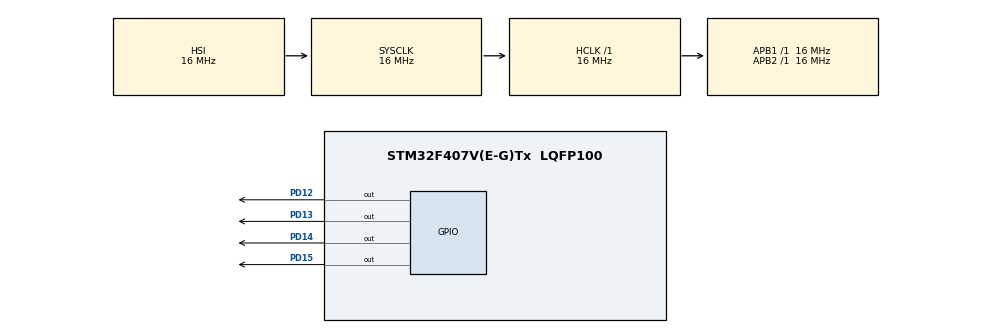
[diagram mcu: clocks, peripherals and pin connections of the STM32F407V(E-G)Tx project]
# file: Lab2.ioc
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Mcu.Family=STM32F4
Mcu.Name=STM32F407V(E-G)Tx
Mcu.Package=LQFP100
NVIC.PriorityGroup=NVIC_PRIORITYGROUP_4
PD12.Signal=GPIO_Output
PD13.Signal=GPIO_Output
PD14.Signal=GPIO_Output
PD15.Signal=GPIO_Output
ProjectManager.HeapSize=0x200
ProjectManager.StackSize=0x400
ProjectManager.TargetToolchain=STM32CubeIDE
RCC.AHBFreq_Value=16000000
RCC.APB1Freq_Value=16000000
RCC.APB2Freq_Value=16000000
RCC.CortexFreq_Value=16000000
RCC.HSE_VALUE=25000000
RCC.HSI_VALUE=16000000
RCC.LSE_VALUE=32768
RCC.SYSCLKFreq_VALUE=16000000
RCC.VCOOutputFreq_Value=192000000
board=custom

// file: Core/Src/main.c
/* USER CODE BEGIN Header */
/**
  ******************************************************************************
  * @file           : main.c
  * @brief          : Main program body
  ******************************************************************************
  * @attention
  *
  * Copyright (c) 2026 STMicroelectronics.
  * All rights reserved.
  *
  * This software is licensed under terms that can be found in the LICENSE file
  * in the root directory of this software component.
  * If no LICENSE file comes with this software, it is provided AS-IS.
  *
  ******************************************************************************
  */
/* USER CODE END Header */
#include "main.h"

/* USER CODE BEGIN Includes */
#include <stdlib.h>
/* USER CODE END Includes */

/* USER CODE BEGIN PD */
#define NUMBER_OF_PINS 4
/* USER CODE END PD */

void SystemClock_Config(void);
static void MX_GPIO_Init(void);

int main(void)
{

  /* MCU Configuration--------------------------------------------------------*/

  /* Reset of all peripherals, Initializes the Flash interface and the Systick. */
  HAL_Init();

  /* Configure the system clock */
  SystemClock_Config();

  /* Initialize all configured peripherals */
  MX_GPIO_Init();
  /* USER CODE BEGIN 2 */
  const uint16_t GPIO_PINS[] = {GPIO_PIN_12, GPIO_PIN_13, GPIO_PIN_14, GPIO_PIN_15};
  void rightOrderLight() {
      for (int i = 0; i < NUMBER_OF_PINS; i++) {
        HAL_GPIO_WritePin(GPIOD, GPIO_PINS[i], GPIO_PIN_SET);
        HAL_Delay(375);

        HAL_GPIO_WritePin(GPIOD, GPIO_PINS[i], GPIO_PIN_RESET);
        HAL_Delay(375);
      }
    }

  void reverseOrderLight() {
    for (int i = NUMBER_OF_PINS; i > 0; i--) {
      HAL_GPIO_WritePin(GPIOD, GPIO_PINS[i], GPIO_PIN_SET);
        HAL_Delay(375);

        HAL_GPIO_WritePin(GPIOD, GPIO_PINS[i], GPIO_PIN_RESET);
        HAL_Delay(375);
      }
    }

    void diagonallyOrderLight() {
      const int ORDER[] = {0, 2, 1, 3};

      for (int i = 0; i < NUMBER_OF_PINS; i++) {
        HAL_GPIO_WritePin(GPIOD, GPIO_PINS[ORDER[i]], GPIO_PIN_SET);
        HAL_Delay(375);

        HAL_GPIO_WritePin(GPIOD, GPIO_PINS[ORDER[i]], GPIO_PIN_RESET);
        HAL_Delay(375);
      }
    }

    void randomOrderLight(void) {
      int order[NUMBER_OF_PINS] = {0, 1, 2, 3};

      for (int i = NUMBER_OF_PINS - 1; i > 0; i--) {
        int j = rand() % (i + 1);
        int tmp = order[i];
        order[i] = order[j];
        order[j] = tmp;
     }

      for (int i = 0; i < NUMBER_OF_PINS; i++) {
        HAL_GPIO_WritePin(GPIOD, GPIO_PINS[order[i]], GPIO_PIN_SET);
        HAL_Delay(375);
        HAL_GPIO_WritePin(GPIOD, GPIO_PINS[order[i]], GPIO_PIN_RESET);
        HAL_Delay(375);
      }
    }
  /* USER CODE END 2 */

  /* Infinite loop */
  /* USER CODE BEGIN WHILE */

  while (1)
  {
	rightOrderLight();
	reverseOrderLight();
	diagonallyOrderLight();
	randomOrderLight();
    /* USER CODE END WHILE */

  }
}

void SystemClock_Config(void)
{
  RCC_OscInitTypeDef RCC_OscInitStruct = {0};
  RCC_ClkInitTypeDef RCC_ClkInitStruct = {0};

  /** Configure the main internal regulator output voltage
  */
  __HAL_RCC_PWR_CLK_ENABLE();
  __HAL_PWR_VOLTAGESCALING_CONFIG(PWR_REGULATOR_VOLTAGE_SCALE1);

  /** Initializes the RCC Oscillators according to the specified parameters
  * in the RCC_OscInitTypeDef structure.
  */
  RCC_OscInitStruct.OscillatorType = RCC_OSCILLATORTYPE_HSI;
  RCC_OscInitStruct.HSIState = RCC_HSI_ON;
  RCC_OscInitStruct.HSICalibrationValue = RCC_HSICALIBRATION_DEFAULT;
  RCC_OscInitStruct.PLL.PLLState = RCC_PLL_NONE;
  if (HAL_RCC_OscConfig(&RCC_OscInitStruct) != HAL_OK)
  {
    Error_Handler();
  }

  /** Initializes the CPU, AHB and APB buses clocks
  */
  RCC_ClkInitStruct.ClockType = RCC_CLOCKTYPE_HCLK|RCC_CLOCKTYPE_SYSCLK
                              |RCC_CLOCKTYPE_PCLK1|RCC_CLOCKTYPE_PCLK2;
  RCC_ClkInitStruct.SYSCLKSource = RCC_SYSCLKSOURCE_HSI;
  RCC_ClkInitStruct.AHBCLKDivider = RCC_SYSCLK_DIV1;
  RCC_ClkInitStruct.APB1CLKDivider = RCC_HCLK_DIV1;
  RCC_ClkInitStruct.APB2CLKDivider = RCC_HCLK_DIV1;

  if (HAL_RCC_ClockConfig(&RCC_ClkInitStruct, FLASH_LATENCY_0) != HAL_OK)
  {
    Error_Handler();
  }
}

static void MX_GPIO_Init(void)
{
  GPIO_InitTypeDef GPIO_InitStruct = {0};

  /* GPIO Ports Clock Enable */
  __HAL_RCC_GPIOD_CLK_ENABLE();

  /*Configure GPIO pin Output Level */
  HAL_GPIO_WritePin(GPIOD, GPIO_PIN_12|GPIO_PIN_13|GPIO_PIN_14|GPIO_PIN_15, GPIO_PIN_RESET);

  /*Configure GPIO pins : PD12 PD13 PD14 PD15 */
  GPIO_InitStruct.Pin = GPIO_PIN_12|GPIO_PIN_13|GPIO_PIN_14|GPIO_PIN_15;
  GPIO_InitStruct.Mode = GPIO_MODE_OUTPUT_PP;
  GPIO_InitStruct.Pull = GPIO_NOPULL;
  GPIO_InitStruct.Speed = GPIO_SPEED_FREQ_LOW;
  HAL_GPIO_Init(GPIOD, &GPIO_InitStruct);

}

void Error_Handler(void)
{
  __disable_irq();
  while (1)
  {
  }
}
